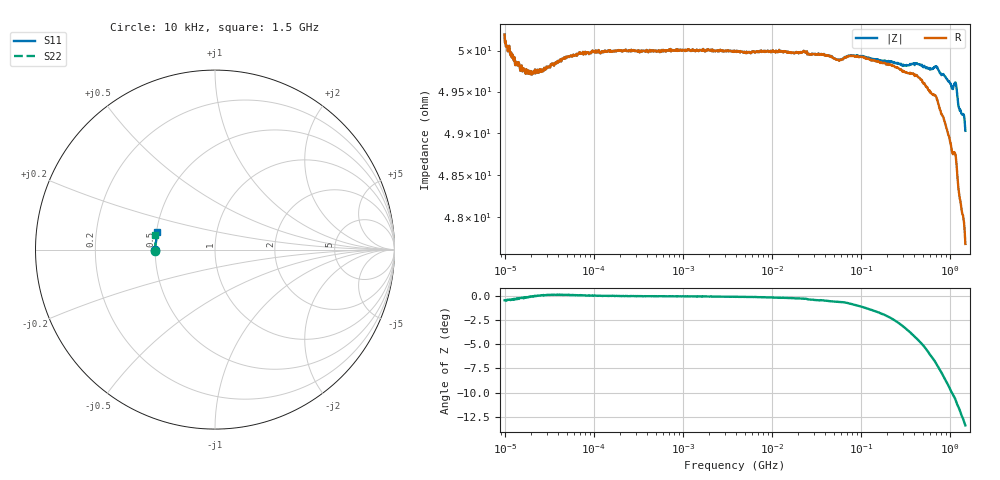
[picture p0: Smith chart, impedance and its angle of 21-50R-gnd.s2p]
#  HZ  S  DB  R  50.00
! Rohde & Schwarz Vector Network Analyzer
! Rohde-Schwarz,ZNB8-4Port,1334333044101560,3.32
! Created: UTC 3/21/2023, 5:21:28 PM
! freq[Hz]  db:S11  ang:S11  db:S41  ang:S41  db:S14  ang:S14  db:S44  ang:S44
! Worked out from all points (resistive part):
!   1001 points, 10 kHz to 1.5 GHz, reference 50 ohm
!   read as one part in shunt: R = 50.1 ohm at 10.61 kHz
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10000  -9.53 -179.4  -3.50 0.1  -3.49 0.1  -9.54 -179.1
14996.4  -9.50 -179.8  -3.53 0.0  -3.53 0.0  -9.51 -179.7
23031.72  -9.52 -180.0  -3.54 0.0  -3.54 0.1  -9.52 -179.9
73182.5  -9.54 -180.0  -3.53 0.1  -3.52 0.1  -9.54 -180.0
535567.8  -9.54 180.0  -3.52 0.0  -3.52 0.0  -9.54 -180.0
3872983  -9.54 180.0  -3.52 -0.0  -3.52 -0.1  -9.54 179.9
1.618738e7  -9.54 179.8  -3.52 -0.2  -3.52 -0.2  -9.54 179.8
2.834346e7  -9.54 179.6  -3.53 -0.4  -3.52 -0.3  -9.54 179.7
7.35428e7  -9.54 179.1  -3.53 -0.7  -3.53 -0.8  -9.55 179.3
1.383162e8  -9.54 178.3  -3.53 -1.5  -3.53 -1.6  -9.55 178.6
2.074245e8  -9.54 177.5  -3.54 -2.2  -3.53 -2.2  -9.55 178.0
2.794232e8  -9.55 176.6  -3.54 -3.0  -3.53 -3.0  -9.54 177.2
3.809261e8  -9.57 175.5  -3.54 -4.0  -3.53 -4.1  -9.54 176.3
4.892588e8  -9.59 174.1  -3.54 -5.1  -3.53 -5.2  -9.54 175.1
6.284006e8  -9.59 172.4  -3.54 -6.5  -3.53 -6.6  -9.52 173.8
7.787647e8  -9.61 170.6  -3.53 -8.1  -3.51 -8.1  -9.47 172.2
9.766793e8  -9.59 168.4  -3.53 -9.9  -3.50 -9.9  -9.46 170.5
1.113497e9  -9.60 166.9  -3.52 -11.1  -3.49 -11.1  -9.41 169.2
1.21038e9  -9.55 165.7  -3.51 -12.0  -3.48 -12.0  -9.36 168.3
1.331467e9  -9.51 164.8  -3.51 -12.9  -3.47 -13.0  -9.32 167.6
1.430167e9  -9.48 163.9  -3.49 -13.7  -3.44 -13.7  -9.26 166.9
1.5e9  -9.44 163.2  -3.48 -14.4  -3.45 -14.4  -9.20 166.2
